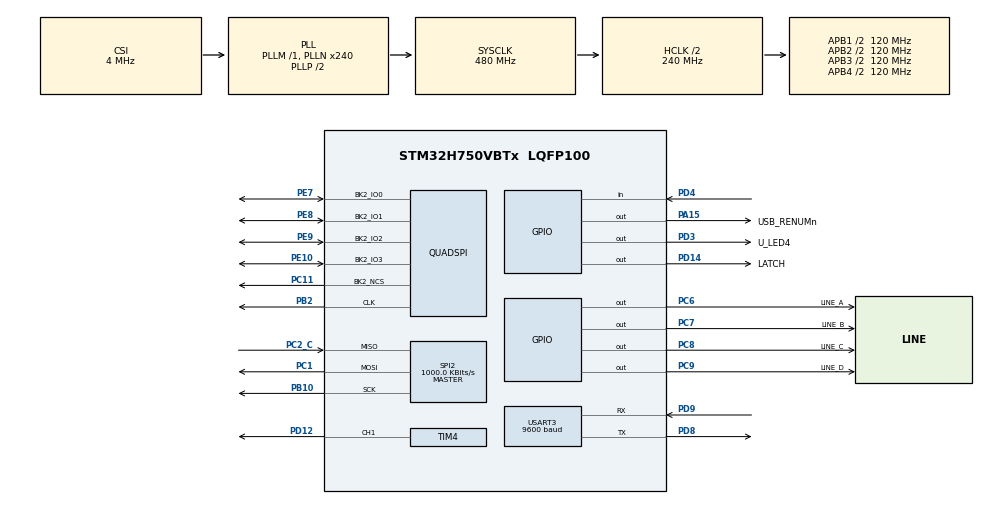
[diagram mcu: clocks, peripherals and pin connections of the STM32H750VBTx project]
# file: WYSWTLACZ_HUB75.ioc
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Mcu.Family=STM32H7
NVIC.USART3_IRQn=true\:0\:0\:false\:false\:true\:true\:true
VP_TIM5_VS_ClockSourceINT.Mode=Internal
RCC.CortexFreq_Value=480000000
PD3.PinState=GPIO_PIN_RESET
QUADSPI.ClockPrescaler=4
SPI2.VirtualType=VM_MASTER
PB10.Mode=Full_Duplex_Master
RCC.HPRE=RCC_HCLK_DIV2
Mdma.MDMA_Channel0.QUADSPI_FIFO_TH.0.SourceInc=MDMA_SRC_INC_BYTE
Mdma.MDMA_Channel0.QUADSPI_FIFO_TH.0.Rank=First
Mdma.MDMA_Channel0.QUADSPI_FIFO_TH.0.Endianness=MDMA_LITTLE_ENDIANNESS_PRESERVE
RCC.PLL2_VCI_Range-AdvancedSettings=RCC_PLL2VCIRANGE_0
RCC.PLLFRACN=0
PC6.GPIO_Label=LINE_A
Mdma.MDMA_Channel0.QUADSPI_FIFO_TH.0.DstAddress=0
Mdma.MDMA_Channel0.QUADSPI_FIFO_TH.0.Instance=MDMA_Channel0
RCC.PLL1_VCO_SEL-AdvancedSettings=RCC_PLL1VCOMEDIUM
RCC.PLL2FRACN=0
PA15\ (JTDI).Signal=GPIO_Output
PD3.GPIO_Speed=GPIO_SPEED_FREQ_LOW
PD9.Mode=Asynchronous
RCC.SYSCLKSource=RCC_SYSCLKSOURCE_PLLCLK
ProjectManager.StackSize=0x400
PC8.PinState=GPIO_PIN_RESET
RCC.SPI123CLockSelection=RCC_SPI123CLKSOURCE_PLL2
USART3.VirtualMode-Asynchronous=VM_ASYNC
Mdma.MDMA_Channel0.QUADSPI_FIFO_TH.0.BufferTransferLength=4
PA14\ (JTCK/SWCLK).Signal=DEBUG_JTCK-SWCLK
CORTEX_M7.Enable-Cortex_Memory_Protection_Unit_Region0_Settings=MPU_REGION_ENABLE
USART3.BaudRate=9600
NVIC.TIM5_IRQn=true\:3\:0\:true\:false\:true\:true\:true
RCC.HCLKFreq_Value=240000000
PD4.Signal=GPIO_Input
TIM3.Period=9
PC7.Signal=GPIO_Output
PD8.Signal=USART3_TX
QUADSPI.FlashSize=25
PC2_C.Signal=SPI2_MISO
PD4.GPIO_Mode=GPIO_MODE_INPUT
Mdma.MDMA_Channel0.Request0=QUADSPI_FIFO_TH
RCC.HSE_VALUE=8000000
PB2.Signal=QUADSPI_CLK
RCC.DIVM3=1
RCC.DIVM2=1
RCC.DIVM1=1
Mdma.MDMA_Channel0.QUADSPI_FIFO_TH.0.DestinationInc=MDMA_DEST_INC_DISABLE
Mdma.MDMA_Channel0.QUADSPI_FIFO_TH.0.DataAlignment=MDMA_DATAALIGN_PACKENABLE
RCC.PLL1_VCI_Range-AdvancedSettings=RCC_PLL1VCIRANGE_0
PE9.Signal=QUADSPI_BK2_IO2
TIM3.Prescaler=239
NVIC.TIM2_IRQn=true\:4\:0\:true\:false\:true\:true\:true
SPI2.CalculateBaudRate=1000.0 KBits/s
PC7.PinState=GPIO_PIN_RESET
Mdma.MDMA_Channel0.QUADSPI_FIFO_TH.0.BlockCount=0
PA14\ (JTCK/SWCLK).Mode=Serial_Wire
TIM4.Period=100
Mdma.MDMA_Channel0.RequestsNb=1
PE10.Signal=QUADSPI_BK2_IO3
Mdma.RequestSet0=MDMA_Channel0
RCC.APB3Freq_Value=120000000
Mcu.Package=LQFP100
TIM2.Prescaler=239
SPI2.Mode=SPI_MODE_MASTER
RCC.PLL3FRACN=0
RCC.D1PPRE=RCC_APB3_DIV2
PA15\ (JTDI).GPIO_ModeDefaultOutputPP=GPIO_MODE_OUTPUT_PP
PD12.Signal=S_TIM4_CH1
Mdma.MDMA_Channel0.QUADSPI_FIFO_TH.0.BlockDataLength=0
PC8.GPIO_ModeDefaultOutputPP=GPIO_MODE_OUTPUT_PP
PE9.Mode=Single Bank 2
PC6.GPIO_PuPd=GPIO_PULLUP
PC8.GPIO_Speed=GPIO_SPEED_FREQ_HIGH
PC11.Mode=Single Bank 2
SH.S_TIM4_CH1.0=TIM4_CH1,PWM Generation1 CH1
RCC.APB4Freq_Value=120000000
SPI2.Direction=SPI_DIRECTION_2LINES
PD3.GPIO_Label=U_LED4
PD3.GPIO_PuPd=GPIO_NOPULL
PE7.Signal=QUADSPI_BK2_IO0
PC6.GPIO_Speed=GPIO_SPEED_FREQ_HIGH
VP_TIM3_VS_ClockSourceINT.Mode=Internal
PC6.GPIO_ModeDefaultOutputPP=GPIO_MODE_OUTPUT_PP
RCC.PLLSourceVirtual=RCC_PLLSOURCE_CSI
TIM4.Channel-PWM\ Generation1\ CH1=TIM_CHANNEL_1
PC7.GPIO_ModeDefaultOutputPP=GPIO_MODE_OUTPUT_PP
NVIC.QUADSPI_IRQn=true\:2\:0\:true\:false\:true\:true\:true
Mdma.MDMA_Channel0.QUADSPI_FIFO_TH.0.MaskData=0
CORTEX_M7.CPU_ICache=Enabled
RCC.DIVQ2=120
RCC.DIVQ1=120
PA13\ (JTMS/SWDIO).Mode=Serial_Wire
Mdma.MDMA_Channel0.QUADSPI_FIFO_TH.0.SrcAddress=0
PC9.GPIO_Label=LINE_D
Mdma.MDMA_Channel0.QUADSPI_FIFO_TH.0.CircularMode=MDMA_LINEAR_LIST
PC11.Signal=QUADSPI_BK2_NCS
PD3.Signal=GPIO_Output
PC8.Signal=GPIO_Output
PE10.Mode=Single Bank 2
PC6.Signal=GPIO_Output
PC9.PinState=GPIO_PIN_SET
RCC.D2PPRE2=RCC_APB2_DIV2
RCC.D2PPRE1=RCC_APB1_DIV2
RCC.DIVP2=120
PD9.Signal=USART3_RX
Mdma.MDMA_Channel0.QUADSPI_FIFO_TH.0.DestDataSize=MDMA_DEST_DATASIZE_BYTE
PE8.Mode=Single Bank 2
PC8.GPIO_Label=LINE_C
CORTEX_M7.MPU_Control=__NULL
PD4.GPIO_PuPd=GPIO_NOPULL
NVIC.MDMA_IRQn=true\:2\:0\:true\:false\:true\:true\:true
ProjectManager.TargetToolchain=STM32CubeIDE
RCC.DIVN3=120
RCC.DIVN2=60
RCC.DIVN1=240
RCC.LPTIM1CLockSelection=RCC_LPTIM1CLKSOURCE_PLL2
PC2_C.Mode=Full_Duplex_Master
STMicroelectronics.X-CUBE-TOUCHGFX.4.16.0.ApplicationCcGraphicsJjApplication=TouchGFXOoGenerator
RCC.USBFreq_Value=48000000
PC7.GPIO_PuPd=GPIO_PULLUP
TIM4.Prescaler=1
PD8.Mode=Asynchronous
PB10.Signal=SPI2_SCK
PC6.PinState=GPIO_PIN_RESET
RCC.USBCLockSelection=RCC_USBCLKSOURCE_HSI48
Mdma.MDMA_Channel0.QUADSPI_FIFO_TH.0.DestBlockAddressOffset=0
Mdma.MDMA_Channel0.QUADSPI_FIFO_TH.0.DestBurst=MDMA_DEST_BURST_SINGLE
Mdma.MDMA_Channel0.QUADSPI_FIFO_TH.0.SourceDataSize=MDMA_SRC_DATASIZE_BYTE
board=custom
PC7.GPIO_Speed=GPIO_SPEED_FREQ_HIGH
PA15\ (JTDI).GPIO_Speed=GPIO_SPEED_FREQ_LOW
NVIC.TIM3_IRQn=true\:4\:0\:true\:false\:true\:true\:true
RCC.APB2Freq_Value=120000000
VP_TIM2_VS_ClockSourceINT.Mode=Internal
PE8.Signal=QUADSPI_BK2_IO1
PC9.GPIO_ModeDefaultOutputPP=GPIO_MODE_OUTPUT_PP
RCC.ADCFreq_Value=2000000
Mdma.MDMA_Channel0.QUADSPI_FIFO_TH.0.SourceBurst=MDMA_SOURCE_BURST_SINGLE
PC9.GPIO_PuPd=GPIO_PULLDOWN
PA15\ (JTDI).GPIO_PuPd=GPIO_NOPULL
QUADSPI.FifoThreshold=4
PD14.GPIO_Label=LATCH
TIM2.Period=99
Mdma.MDMA_Channel0.QUADSPI_FIFO_TH.0.MaskAddress=0
PA15\ (JTDI).GPIO_Label=USB_RENUMn
Mcu.Name=STM32H750VBTx
PD14.Signal=GPIO_Output
PC7.GPIO_Label=LINE_B
PC8.GPIO_PuPd=GPIO_PULLUP
RCC.SYSCLKFreq_VALUE=480000000
PE7.Mode=Single Bank 2
RCC.Spi45ClockSelection=RCC_SPI45CLKSOURCE_PLL2
TIM5.Prescaler=239
PB2.Mode=Single Bank 2
Mdma.MDMA_Channel0.QUADSPI_FIFO_TH.0.Priority=MDMA_PRIORITY_LOW
RCC.QSPICLockSelection=RCC_QSPICLKSOURCE_PLL2
Mdma.MDMA_Channel0.QUADSPI_FIFO_TH.0.SourceBlockAddressOffset=0
ProjectManager.HeapSize=0x200
Mdma.MDMA_Channel0.QUADSPI_FIFO_TH.0.TransferTriggerMode=MDMA_BUFFER_TRANSFER
PD3.GPIO_ModeDefaultOutputPP=GPIO_MODE_OUTPUT_PP
VP_TIM4_VS_ClockSourceINT.Mode=Internal
Mdma.RequestSetsNb=1
PC9.GPIO_Speed=GPIO_SPEED_FREQ_LOW
NVIC.PriorityGroup=NVIC_PRIORITYGROUP_4
RCC.D3PPRE=RCC_APB4_DIV2
TIM5.Period=200
PA15\ (JTDI).PinState=GPIO_PIN_RESET
PC9.Signal=GPIO_Output
CORTEX_M7.CPU_DCache=Disabled
RCC.APB1Freq_Value=120000000
RCC.DIVR2=5
PC1.Signal=SPI2_MOSI
PA13\ (JTMS/SWDIO).Signal=DEBUG_JTMS-SWDIO
PC1.Mode=Full_Duplex_Master

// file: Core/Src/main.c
/* USER CODE BEGIN Header */
/**
  ******************************************************************************
  * @file           : main.c
  * @brief          : Main program body
  ******************************************************************************
  * @attention
  *
  * <h2><center>&copy; Copyright (c) 2021 STMicroelectronics.
  * All rights reserved.</center></h2>
  *
  * This software component is licensed by ST under BSD 3-Clause license,
  * the "License"; You may not use this file except in compliance with the
  * License. You may obtain a copy of the License at:
  *                        opensource.org/licenses/BSD-3-Clause
  *
  ******************************************************************************
  */
/* USER CODE END Header */
#include "main.h"
#include "mdma.h"
#include "quadspi.h"
#include "spi.h"
#include "tim.h"
#include "usart.h"
#include "gpio.h"

/* USER CODE BEGIN Includes */
#include "HUB_75.h"
#include "stm32h7xx_it.h"
#include "PIXEL_MAPS.h"
#include "stm32h7xx_hal.h"
#include "Napisy.h"
#include "LL_UART_TEO.h"
#include "String_From_UART.h"
/* USER CODE END Includes */

void SystemClock_Config(void);
void PeriphCommonClock_Config(void);

/* USER CODE BEGIN 0 */

/* USER CODE BEGIN PV */
/* USER CODE END 0 */

int main(void)
{

  /* Enable I-Cache---------------------------------------------------------*/
  SCB_EnableICache();

  /* MCU Configuration--------------------------------------------------------*/

  /* Reset of all peripherals, Initializes the Flash interface and the Systick. */
  HAL_Init();

  /* Configure the system clock */
  SystemClock_Config();

/* Configure the peripherals common clocks */
  PeriphCommonClock_Config();

  /* Initialize all configured peripherals */
  MX_GPIO_Init();
  MX_MDMA_Init();
  MX_TIM2_Init();
  MX_QUADSPI_Init();
  MX_TIM3_Init();
  MX_TIM5_Init();
  MX_USART3_UART_Init();
  MX_TIM4_Init();
  MX_SPI2_Init();
  /* USER CODE BEGIN 2 */

  HAL_Delay(200);

HUB_75_INIT();

INIT_UART3();

uint8_t Proces_num=0 ;

uint8_t Pozdr_widzow[10000]={0};

uint8_t B1[]= "POZDRAWIAM";
int Size=sizeof(B1)-1;
Create_String_buffer (B1, Size, 0 , Pozdr_widzow,Azure);
uint8_t B2[]= "  WIDZÓW!";
Size=sizeof(B2)-1;
Create_String_buffer (B2, Size, 1 , Pozdr_widzow,Green);

uint8_t Ster_MatrixLEDRGB[10000]={0};
uint8_t S1[]= "MÓJ DRIVER";
 Size=sizeof(S1)-1;
Create_String_buffer (S1, Size, 0 , Ster_MatrixLEDRGB,Azure);
uint8_t S2[]= "DO DISPLAY ";
 Size=sizeof(S2)-1;
Create_String_buffer (S2, Size, 1 , Ster_MatrixLEDRGB,Green);
uint8_t S3[]= "MATRIX LED";
 Size=sizeof(S3)-1;
Create_String_buffer (S3, Size, 2 , Ster_MatrixLEDRGB,Yellow);
uint8_t S4[]= "RGB HUB-75";
 Size=sizeof(S4)-1;
Create_String_buffer (S4, Size, 3 , Ster_MatrixLEDRGB,Purple);

SedingBufor_Adr=OUT_B1;
  /* USER CODE END 2 */

  /* Infinite loop */
  /* USER CODE BEGIN WHILE */
  while (1)
  {
HandleEcho(&Thuart3);

	  switch( Proces_num )
	  {
	  case 0:
	  	Verical_Scroll_Flow_withHOLD(Ster_MatrixLEDRGB, 64, 50, 800,300, 0);  //this fucion execution maks 550us
	   if(SCR_PROCESS==SCR_VIEWING_PROCESS_DONE)
	   {
	  	 Proces_num++;
	   }
	  break;
	  case 1:

	  	Verical_Scroll_Flow_withHOLD(Ster_MatrixLEDRGB, 64, 50, 300,800, 1);
	  	 if(SCR_PROCESS==SCR_VIEWING_PROCESS_DONE)
	  	 {
	  		 Proces_num++;
	  	 }
	  	break;
	  case 2:

	  	Viewing_BitMapBy_Time(Pozdr_widzow, 2000);
	  	 if(SCR_PROCESS==SCR_VIEWING_PROCESS_DONE)
	  	 {
	  		 Proces_num++;
	  	 }

	  	break;
	  case 3:

	  	Viewing_BitMapBy_Time(Quad_Pika, 1000);
	  	 if(SCR_PROCESS==SCR_VIEWING_PROCESS_DONE)
	  	 {
	  		 Proces_num++;
	  	 }

	  	break;

	  case 4:
		  	 Horizontal_SCROLL( Pozdr_wsz, 256 , 500, 20);  //Pozdr_wsz
		  	 if(SCR_PROCESS==SCR_VIEWING_PROCESS_DONE)
		  	 {
		  		 Proces_num++;
		  	 }

	  	break;
	  case 5:
		  	  	  	  //Napisy z UARTU czyli bluetootha
		  if(Ilosc_Lini_tesktu>0)
		  {

			  if(Ilosc_Lini_tesktu==1 || Ilosc_Lini_tesktu==2)
			  {
				  	Viewing_BitMapBy_Time( Created_By_UART_BMP , 6000);

						  	 if(SCR_PROCESS==SCR_VIEWING_PROCESS_DONE)
						  	 {
						  		Proces_num++;
						  		break;
						  	 }
			  }

			  else if(Ilosc_Lini_tesktu==3 || Ilosc_Lini_tesktu==4)
			  {
				  Verical_Scroll_Flow_withHOLD(Created_By_UART_BMP, 64, 80, 3200,3200, 1);
				  	 if(SCR_PROCESS==SCR_VIEWING_PROCESS_DONE)
				  	 {
				  		Proces_num++;
				  		break;
				  	 }
			  }
			  else
			  {
				  SCR_PROCESS=SCR_VIEWING_PROCESS_DONE;
				  Proces_num++;
				  break;
			  }

			  if(  (HAL_GetTick() - Z_czasOtrzymania_tekstu) > (1000*60*1) )
			  {
				  SCR_PROCESS=SCR_VIEWING_PROCESS_DONE;
				  Ilosc_Lini_tesktu=0;
				  f_start_view=1;
				  Proces_num++;
				  break;
			  }

		  }

		  else
		  {
			  SCR_PROCESS=SCR_VIEWING_PROCESS_DONE;
			  Proces_num++;
			  break;
		  }
	  	break;

	  default :
	  	Proces_num=0;

	  	break;
	  }

    /* USER CODE END WHILE */

  }
}

void SystemClock_Config(void)
{
  RCC_OscInitTypeDef RCC_OscInitStruct = {0};
  RCC_ClkInitTypeDef RCC_ClkInitStruct = {0};

  /** Supply configuration update enable
  */
  HAL_PWREx_ConfigSupply(PWR_LDO_SUPPLY);
  /** Configure the main internal regulator output voltage
  */
  __HAL_PWR_VOLTAGESCALING_CONFIG(PWR_REGULATOR_VOLTAGE_SCALE0);

  while(!__HAL_PWR_GET_FLAG(PWR_FLAG_VOSRDY)) {}
  /** Macro to configure the PLL clock source
  */
  __HAL_RCC_PLL_PLLSOURCE_CONFIG(RCC_PLLSOURCE_CSI);
  /** Initializes the RCC Oscillators according to the specified parameters
  * in the RCC_OscInitTypeDef structure.
  */
  RCC_OscInitStruct.OscillatorType = RCC_OSCILLATORTYPE_CSI;
  RCC_OscInitStruct.CSIState = RCC_CSI_ON;
  RCC_OscInitStruct.CSICalibrationValue = RCC_CSICALIBRATION_DEFAULT;
  RCC_OscInitStruct.PLL.PLLState = RCC_PLL_ON;
  RCC_OscInitStruct.PLL.PLLSource = RCC_PLLSOURCE_CSI;
  RCC_OscInitStruct.PLL.PLLM = 1;
  RCC_OscInitStruct.PLL.PLLN = 240;
  RCC_OscInitStruct.PLL.PLLP = 2;
  RCC_OscInitStruct.PLL.PLLQ = 120;
  RCC_OscInitStruct.PLL.PLLR = 2;
  RCC_OscInitStruct.PLL.PLLRGE = RCC_PLL1VCIRANGE_2;
  RCC_OscInitStruct.PLL.PLLVCOSEL = RCC_PLL1VCOWIDE;
  RCC_OscInitStruct.PLL.PLLFRACN = 0;
  if (HAL_RCC_OscConfig(&RCC_OscInitStruct) != HAL_OK)
  {
    Error_Handler();
  }
  /** Initializes the CPU, AHB and APB buses clocks
  */
  RCC_ClkInitStruct.ClockType = RCC_CLOCKTYPE_HCLK|RCC_CLOCKTYPE_SYSCLK
                              |RCC_CLOCKTYPE_PCLK1|RCC_CLOCKTYPE_PCLK2
                              |RCC_CLOCKTYPE_D3PCLK1|RCC_CLOCKTYPE_D1PCLK1;
  RCC_ClkInitStruct.SYSCLKSource = RCC_SYSCLKSOURCE_PLLCLK;
  RCC_ClkInitStruct.SYSCLKDivider = RCC_SYSCLK_DIV1;
  RCC_ClkInitStruct.AHBCLKDivider = RCC_HCLK_DIV2;
  RCC_ClkInitStruct.APB3CLKDivider = RCC_APB3_DIV2;
  RCC_ClkInitStruct.APB1CLKDivider = RCC_APB1_DIV2;
  RCC_ClkInitStruct.APB2CLKDivider = RCC_APB2_DIV2;
  RCC_ClkInitStruct.APB4CLKDivider = RCC_APB4_DIV2;

  if (HAL_RCC_ClockConfig(&RCC_ClkInitStruct, FLASH_LATENCY_4) != HAL_OK)
  {
    Error_Handler();
  }
}

void PeriphCommonClock_Config(void)
{
  RCC_PeriphCLKInitTypeDef PeriphClkInitStruct = {0};

  /** Initializes the peripherals clock
  */
  PeriphClkInitStruct.PeriphClockSelection = RCC_PERIPHCLK_QSPI|RCC_PERIPHCLK_SPI2;
  PeriphClkInitStruct.PLL2.PLL2M = 1;
  PeriphClkInitStruct.PLL2.PLL2N = 60;
  PeriphClkInitStruct.PLL2.PLL2P = 120;
  PeriphClkInitStruct.PLL2.PLL2Q = 120;
  PeriphClkInitStruct.PLL2.PLL2R = 5;
  PeriphClkInitStruct.PLL2.PLL2RGE = RCC_PLL2VCIRANGE_2;
  PeriphClkInitStruct.PLL2.PLL2VCOSEL = RCC_PLL2VCOWIDE;
  PeriphClkInitStruct.PLL2.PLL2FRACN = 0;
  PeriphClkInitStruct.QspiClockSelection = RCC_QSPICLKSOURCE_PLL2;
  PeriphClkInitStruct.Spi123ClockSelection = RCC_SPI123CLKSOURCE_PLL2;
  if (HAL_RCCEx_PeriphCLKConfig(&PeriphClkInitStruct) != HAL_OK)
  {
    Error_Handler();
  }
}

void Error_Handler(void)
{
}

/************************ (C) COPYRIGHT STMicroelectronics *****END OF FILE****/
